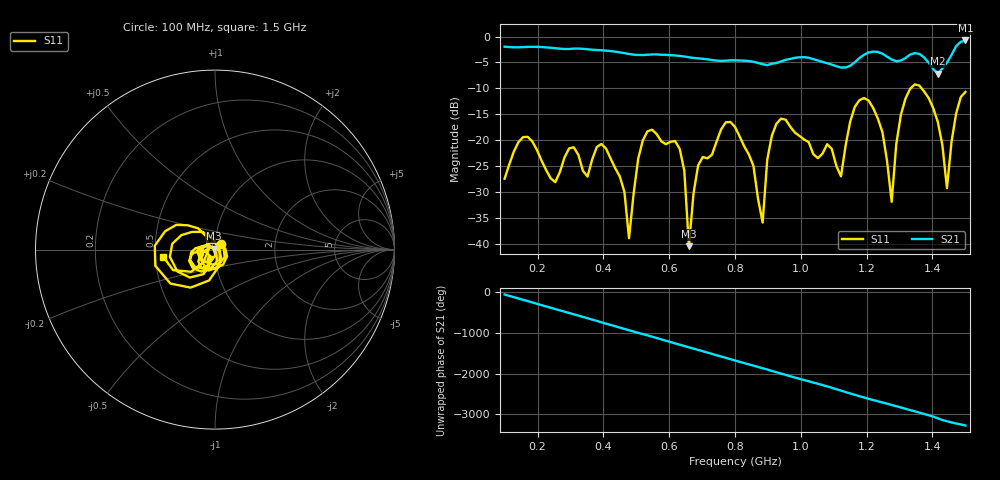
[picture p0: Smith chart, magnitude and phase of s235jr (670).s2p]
! NanoVNA-App
! Date: 2025-09-25 15:09:23
! Start: 100MHz Stop: 1,5GHz Points: 101
! S-Parameter data: F S11 S21 S12 S22
# Hz S RI R 50
!  Frequency  S11_Real  S11_Imag  S21_Real  S21_Imag  S12_Real  S12_Imag  S22_Real  S22_Imag
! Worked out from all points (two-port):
!   101 points, 100 MHz to 1.5 GHz, reference 50 ohm
!   highest |S21| = -0.76 dB at 1.5 GHz (marker M1); lowest = -7.2 dB at 1.416 GHz (marker M2)
!   |S21| within 3 dB of the highest: start of sweep to 634.1 MHz; 1.187 GHz to 1.259 GHz (72.14 MHz wide, 5.9 % of centre) (the widest 2 of 4)
!   lowest |S11| = -40.5 dB at 660 MHz (marker M3), VSWR 1.02, Z = 49.2 + j0.534 ohm
!   |S11| at or under -10 dB: start of sweep to 1.334 GHz; 1.367 GHz to end of sweep
!   S12 and S22 are empty: the file has one direction only
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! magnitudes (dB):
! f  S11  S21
! 100 MHz  -27.5  -2.0
! 156 MHz  -19.4  -2.0
! 338 MHz  -26.0  -2.4
! 408 MHz  -21.6  -2.7
! 478 MHz  -39.0  -3.4
! 520 MHz  -20.1  -3.6
! 576 MHz  -20.2  -3.5
! 632 MHz  -21.7  -3.7
! 660 MHz  -40.5  -4.0
! 688 MHz  -24.9  -4.2
! 800 MHz  -17.5  -4.6
! 884 MHz  -36.0  -5.3
! 926 MHz  -16.8  -5.1
! 1.038 GHz  -22.7  -4.4
! 1.122 GHz  -27.0  -6.0
! 1.164 GHz  -13.6  -5.0
! 1.206 GHz  -12.4  -3.1
! 1.276 GHz  -31.9  -4.4
! 1.332 GHz  -10.1  -3.5
! 1.416 GHz  -16.5  -7.2
! 1.444 GHz  -29.3  -5.0
! 1.5 GHz  -10.7  -0.8
